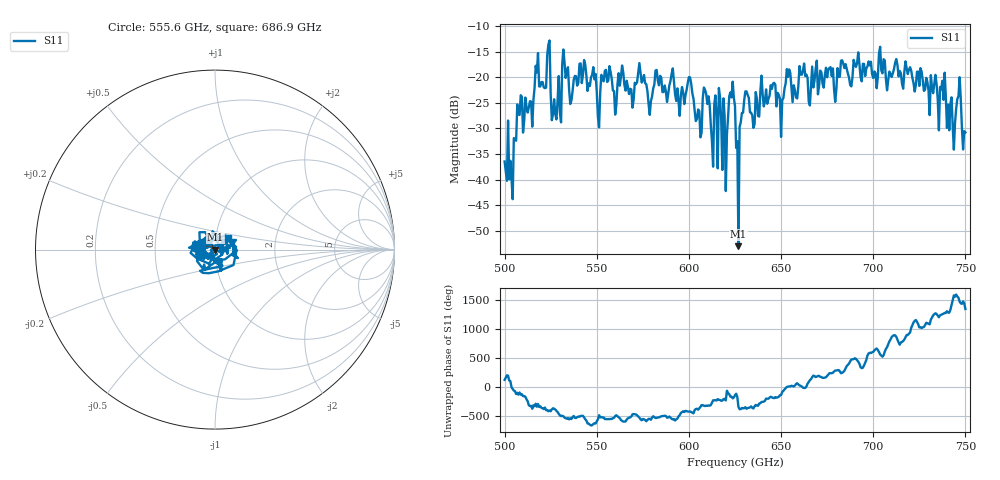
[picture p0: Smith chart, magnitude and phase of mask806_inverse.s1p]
!Created with skrf (http://scikit-rf.org).
# GHz S MA R 50.0
!freq magS11 angS11
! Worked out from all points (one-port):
!   401 points, 500 GHz to 750 GHz, reference 50 ohm
!   lowest |S11| = -52.9 dB at 626.9 GHz (marker M1), VSWR 1.00, Z = 50.2 + j0.0476 ohm
!   |S11| at or under -10 dB: start of sweep to end of sweep
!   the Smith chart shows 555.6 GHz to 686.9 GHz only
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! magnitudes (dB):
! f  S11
! 500 GHz  -36.4
! 503.8 GHz  -39.8
! 508.1 GHz  -27.4
! 513.8 GHz  -24.7
! 517.5 GHz  -19.1
! 523.8 GHz  -13.6
! 526.9 GHz  -24.3
! 531.2 GHz  -17.5
! 542.5 GHz  -19.5
! 551.2 GHz  -29.8
! 562.5 GHz  -21.6
! 593.8 GHz  -22.2
! 600.6 GHz  -20.0
! 605.6 GHz  -26.6
! 609.4 GHz  -23.3
! 619.4 GHz  -27.7
! 623.1 GHz  -23.9
! 625 GHz  -25.6
! 626.9 GHz  -52.9
! 631.2 GHz  -22.8
! 634.4 GHz  -27.4
! 656.2 GHz  -24.9
! 687.5 GHz  -21.5
! 718.8 GHz  -19.4
! 737.5 GHz  -20.7
! 742.5 GHz  -23.9
! 746.2 GHz  -23.7
! 750 GHz  -30.8
